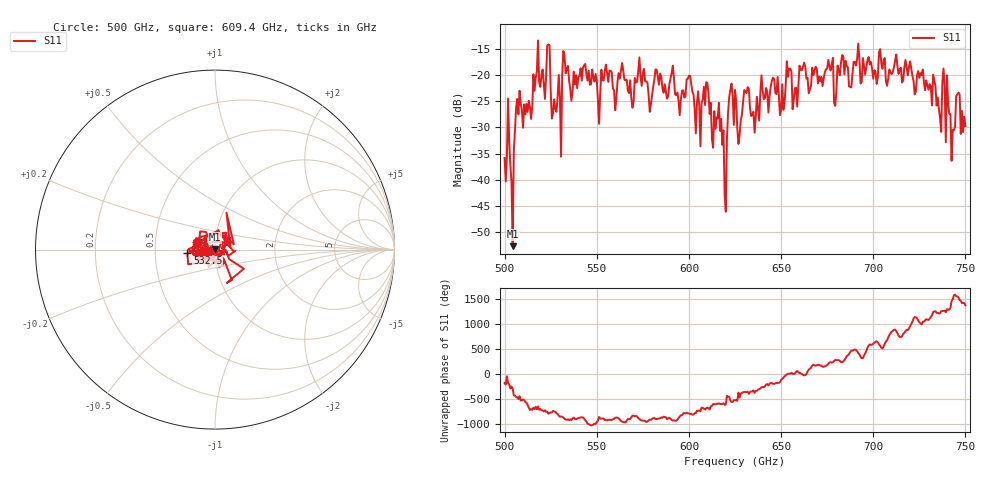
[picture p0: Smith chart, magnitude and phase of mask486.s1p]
!Created with skrf (http://scikit-rf.org).
# GHz S MA R 50.0
!freq magS11 angS11
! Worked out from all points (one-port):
!   401 points, 500 GHz to 750 GHz, reference 50 ohm
!   lowest |S11| = -52.7 dB at 504.4 GHz (marker M1), VSWR 1.00, Z = 50.1 + j0.211 ohm
!   |S11| at or under -10 dB: start of sweep to end of sweep
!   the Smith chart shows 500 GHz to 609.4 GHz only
!   S11 on the Smith chart (normalised r, x): 500 GHz: 0.97, -0.00; 532.5 GHz: 0.73, -0.03; 609.4 GHz: 1.14, +0.12
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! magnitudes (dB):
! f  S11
! 500 GHz  -35.8
! 504.4 GHz  -52.7
! 507.5 GHz  -27.5
! 513.8 GHz  -26.2
! 516.9 GHz  -20.5
! 523.8 GHz  -14.1
! 526.9 GHz  -24.6
! 531.2 GHz  -20.0
! 532.5 GHz  -16.2
! 550.6 GHz  -24.7
! 562.5 GHz  -20.7
! 579.4 GHz  -25.6
! 590.6 GHz  -19.6
! 593.8 GHz  -23.3
! 600 GHz  -20.1
! 605 GHz  -23.1
! 609.4 GHz  -21.3
! 617.5 GHz  -28.4
! 619.4 GHz  -42.8
! 622.5 GHz  -22.8
! 625 GHz  -22.8
! 627.5 GHz  -31.5
! 631.2 GHz  -23.4
! 635 GHz  -27.0
! 656.2 GHz  -26.5
! 687.5 GHz  -22.3
! 718.8 GHz  -20.0
! 750 GHz  -29.7
